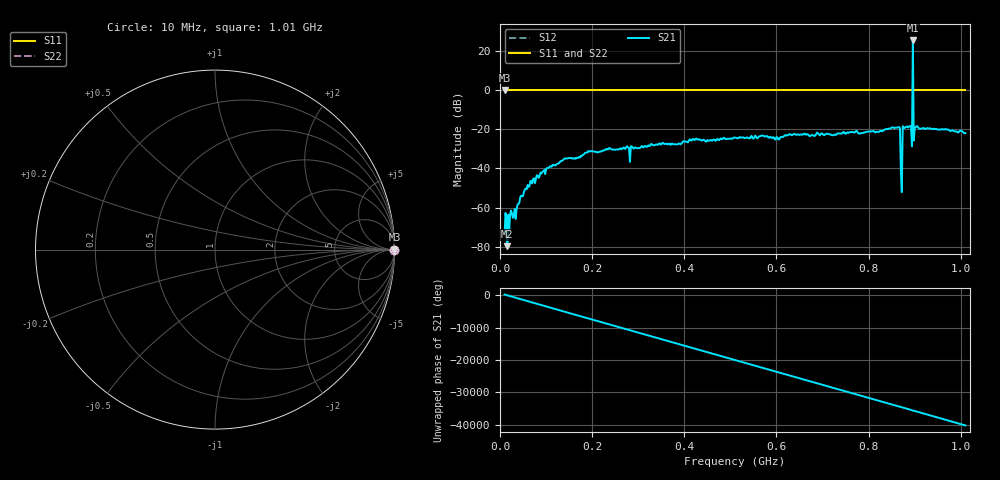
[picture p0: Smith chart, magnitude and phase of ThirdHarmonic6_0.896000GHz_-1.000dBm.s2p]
! 8/16/2025 5:25:25 AM
! C:\ANRITSUVNA\TEMP\TEMP.S2P
! CHANNEL.1
! TR.MEASUREMENT
! RAW.DATA
! RF.CORRECTION.OFF
! AVERAGING.OFF
! IF.BANDWIDTH: 5KHZ
! SWEEPTYPE:  FREQ.SWEEP(Linear)
! Reference Plane Port Info
! PORT:  PORT1  PORT2
! DISTANCE:  0  m  0  m
! TIME:  0  s  0  s
! PHASE.OFFSET:  0  deg.  0  deg.
! LOSS:  0  dB  0  dB
! REF.LOSS:  0  dB  0  dB
! REF.FREQ:  0  Hz  0  Hz
! Power Info
! POWER:  -20  dBm  -20  dBm
! EFF.POWER:  -20  dBm  -20  dBm
! SOURCE.ATTEN:  0  dB  0  dB
! TEST.ATTEN:  0  dB  0  dB
# GHZ S RI R 50.0
! FREQ.GHZ  S11RE  S11IM  S21RE  S21IM  S12RE  S12IM  S22RE  S22IM
!; PortSelection: Port_12
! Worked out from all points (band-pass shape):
!   501 points, 10 MHz to 1.01 GHz, reference 50 ohm
!   highest |S21| = 25.24 dB at 896 MHz (marker M1); lowest = -79.7 dB at 16 MHz (marker M2)
!   |S21| within 3 dB of the highest: 895.8889 MHz to 896.1175 MHz (228.6 kHz wide, 0.0255 % of centre)
!   lowest |S11| = 0.0 dB at 10 MHz (marker M3)
!   |S11| at or under -10 dB: nowhere
!   |S22| runs from 0.0 to 0.0 dB; largest |S21 - S12| = 17
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0.01  1 0  -0.00021 2.6e-05  1 0  1 0
0.016  1 0  -1.64e-05 -0.000103  1 0  1 0
0.022  1 0  0.000507 0.000452  1 0  1 0
0.032  1 0  0.000921 7.76e-05  1 0  1 0
0.048  1 0  0.000664 0.00181  1 0  1 0
0.07  1 0  -0.00224 -0.00347  1 0  1 0
0.138  1 0  0.0168 0.00216  1 0  1 0
0.178  1 0  -0.0205 -0.00449  1 0  1 0
0.344  1 0  0.0394 -0.0136  1 0  1 0
0.51  1 0  -0.0448 0.0415  1 0  1 0
0.678  1 0  -0.0612 -0.0351  1 0  1 0
0.844  1 0  0.1028 0.00207  1 0  1 0
0.864  1 0  -0.00357 -0.1118  1 0  1 0
0.868  1 0  -0.0245 0.1031  1 0  1 0
0.874  1 0  -0.0879 -0.0801  1 0  1 0
0.878  1 0  0.0538 0.0923  1 0  1 0
0.89  1 0  0.0423 -0.1111  1 0  1 0
0.892  1 0  -0.1022 -0.0622  1 0  1 0
0.896  1 0  14.45 -11.19  1 0  1 0
0.9  1 0  -0.0537 -0.0927  1 0  1 0
0.902  1 0  -0.1086 0.0331  1 0  1 0
1.01  1 0  -0.00812 0.0786  1 0  1 0
